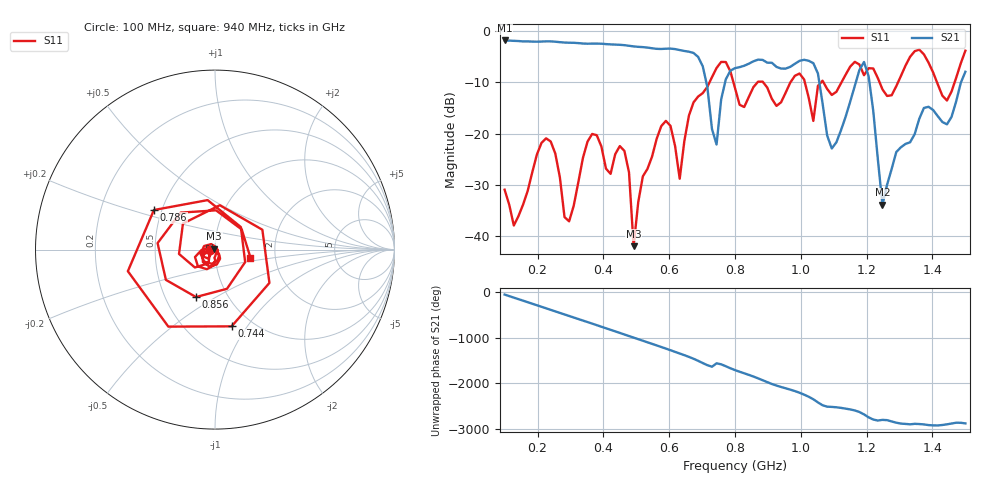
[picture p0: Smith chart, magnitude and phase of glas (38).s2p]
! NanoVNA-App
! Date: 2025-09-25 15:55:46
! Start: 100MHz Stop: 1,5GHz Points: 101
! S-Parameter data: F S11 S21 S12 S22
# Hz S RI R 50
!  Frequency  S11_Real  S11_Imag  S21_Real  S21_Imag  S12_Real  S12_Imag  S22_Real  S22_Imag
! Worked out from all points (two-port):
!   101 points, 100 MHz to 1.5 GHz, reference 50 ohm
!   highest |S21| = -1.80 dB at 100 MHz (marker M1); lowest = -33.9 dB at 1.248 GHz (marker M2)
!   |S21| within 3 dB of the highest: start of sweep to 684.1 MHz
!   lowest |S11| = -42.0 dB at 492 MHz (marker M3), VSWR 1.02, Z = 49.5 + j0.578 ohm
!   |S11| at or under -10 dB: start of sweep to 722.4 MHz; 795.3 MHz to 868.1 MHz (72.83 MHz wide, 8.76 % of centre); 885.9 MHz to 968.2 MHz (82.37 MHz wide, 8.89 % of centre) (the widest 3 of 7)
!   S12 and S22 are empty: the file has one direction only
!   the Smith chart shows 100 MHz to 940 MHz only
!   S11 on the Smith chart (normalised r, x): 100 MHz: 0.95, -0.01; 744 MHz: 0.80, -0.85; 786 MHz: 0.45, +0.24; 856 MHz: 0.71, -0.41; 940 MHz: 1.48, -0.14
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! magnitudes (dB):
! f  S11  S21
! 100 MHz  -31.0  -1.8
! 128 MHz  -37.9  -1.9
! 226 MHz  -20.9  -2.0
! 296 MHz  -37.1  -2.2
! 338 MHz  -24.7  -2.4
! 464 MHz  -23.4  -2.7
! 492 MHz  -42.0  -3.0
! 576 MHz  -18.5  -3.5
! 632 MHz  -28.8  -3.7
! 702 MHz  -12.1  -6.9
! 744 MHz  -7.2  -22.1
! 786 MHz  -7.8  -7.7
! 800 MHz  -11.1  -7.2
! 856 MHz  -10.9  -5.9
! 940 MHz  -13.9  -7.3
! 996 MHz  -8.3  -5.8
! 1.038 GHz  -17.5  -6.2
! 1.094 GHz  -12.4  -22.9
! 1.192 GHz  -8.6  -6.0
! 1.248 GHz  -11.4  -33.9
! 1.276 GHz  -12.5  -26.9
! 1.5 GHz  -3.8  -7.9
